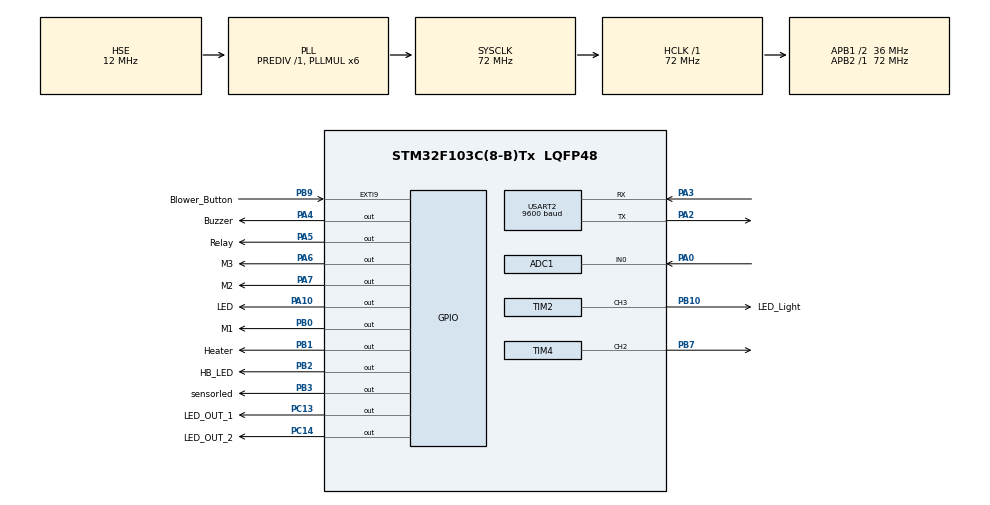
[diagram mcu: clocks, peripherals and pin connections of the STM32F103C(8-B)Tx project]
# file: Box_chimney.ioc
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ADC1.Channel-2\#ChannelRegularConversion=ADC_CHANNEL_0
ADC1.NbrOfConversion=1
ADC1.NbrOfConversionFlag=1
ADC1.Rank-2\#ChannelRegularConversion=1
ADC1.SamplingTime-2\#ChannelRegularConversion=ADC_SAMPLETIME_71CYCLES_5
ADC1.master=1
Dma.Request0=TIM4_CH2
Dma.TIM4_CH2.0.Direction=DMA_MEMORY_TO_PERIPH
Dma.TIM4_CH2.0.Instance=DMA1_Channel4
Dma.TIM4_CH2.0.MemDataAlignment=DMA_MDATAALIGN_HALFWORD
Dma.TIM4_CH2.0.MemInc=DMA_MINC_ENABLE
Dma.TIM4_CH2.0.Mode=DMA_NORMAL
Dma.TIM4_CH2.0.PeriphDataAlignment=DMA_PDATAALIGN_HALFWORD
Dma.TIM4_CH2.0.PeriphInc=DMA_PINC_DISABLE
Dma.TIM4_CH2.0.Priority=DMA_PRIORITY_LOW
Mcu.Family=STM32F1
Mcu.Name=STM32F103C(8-B)Tx
Mcu.Package=LQFP48
NVIC.DMA1_Channel4_IRQn=true\:0\:0\:false\:false\:true\:false\:true\:true
NVIC.EXTI9_5_IRQn=true\:0\:0\:false\:false\:true\:true\:true\:true
NVIC.PriorityGroup=NVIC_PRIORITYGROUP_4
NVIC.TIM1_UP_IRQn=true\:0\:0\:false\:false\:true\:true\:true\:true
NVIC.TIM2_IRQn=true\:0\:0\:false\:false\:true\:true\:true\:true
NVIC.TIM3_IRQn=true\:0\:0\:false\:false\:true\:true\:true\:true
NVIC.USART2_IRQn=true\:0\:0\:false\:false\:true\:true\:true\:true
PA0-WKUP.Signal=ADCx_IN0
PA10.GPIO_Label=LED
PA10.Signal=GPIO_Output
PA13.Mode=Serial_Wire
PA13.Signal=SYS_JTMS-SWDIO
PA14.Mode=Serial_Wire
PA14.Signal=SYS_JTCK-SWCLK
PA2.Mode=Asynchronous
PA2.Signal=USART2_TX
PA3.Mode=Asynchronous
PA3.Signal=USART2_RX
PA4.GPIO_Label=Buzzer
PA4.Signal=GPIO_Output
PA5.GPIO_Label=Relay
PA5.Signal=GPIO_Output
PA6.GPIO_Label=M3
PA6.Signal=GPIO_Output
PA7.GPIO_Label=M2
PA7.Signal=GPIO_Output
PB0.GPIO_Label=M1
PB0.Signal=GPIO_Output
PB1.GPIO_Label=Heater
PB1.Signal=GPIO_Output
PB10.GPIO_Label=LED_Light
PB10.Signal=S_TIM2_CH3
PB2.GPIO_Label=HB_LED
PB2.Signal=GPIO_Output
PB3.GPIO_Label=sensorled
PB3.Signal=GPIO_Output
PB7.Signal=S_TIM4_CH2
PB9.GPIO_Label=Blower_Button
PB9.GPIO_ModeDefaultEXTI=GPIO_MODE_IT_RISING_FALLING
PB9.Signal=GPXTI9
PC13-TAMPER-RTC.GPIO_Label=LED_OUT_1
PC13-TAMPER-RTC.Signal=GPIO_Output
PC14-OSC32_IN.GPIO_Label=LED_OUT_2
PC14-OSC32_IN.Signal=GPIO_Output
PD0-OSC_IN.Mode=HSE-External-Oscillator
PD0-OSC_IN.Signal=RCC_OSC_IN
PD1-OSC_OUT.Mode=HSE-External-Oscillator
PD1-OSC_OUT.Signal=RCC_OSC_OUT
ProjectManager.HeapSize=0x200
ProjectManager.StackSize=0x400
ProjectManager.TargetToolchain=STM32CubeIDE
RCC.ADCPresc=RCC_ADCPCLK2_DIV6
RCC.AHBFreq_Value=72000000
RCC.APB1CLKDivider=RCC_HCLK_DIV2
RCC.APB1Freq_Value=36000000
RCC.APB1TimFreq_Value=72000000
RCC.APB2Freq_Value=72000000
RCC.APB2TimFreq_Value=72000000
RCC.HCLKFreq_Value=72000000
RCC.HSE_VALUE=12000000
RCC.PLLMUL=RCC_PLL_MUL6
RCC.PLLSourceVirtual=RCC_PLLSOURCE_HSE
RCC.SYSCLKFreq_VALUE=72000000
RCC.SYSCLKSource=RCC_SYSCLKSOURCE_PLLCLK
RCC.USBFreq_Value=72000000
SH.ADCx_IN0.0=ADC1_IN0,IN0
SH.S_TIM2_CH3.0=TIM2_CH3,PWM Generation3 CH3
SH.S_TIM4_CH2.0=TIM4_CH2,PWM Generation2 CH2
TIM1.Period=9999
TIM1.Prescaler=7199
TIM2.Channel-PWM\ Generation3\ CH3=TIM_CHANNEL_3
TIM2.Period=999
TIM2.Prescaler=71
TIM3.Period=199
TIM3.Prescaler=7199
TIM4.Channel-PWM\ Generation2\ CH2=TIM_CHANNEL_2
TIM4.Period=89
TIM4.Prescaler=0
USART2.BaudRate=9600
USART2.VirtualMode=VM_ASYNC
VP_TIM1_VS_ClockSourceINT.Mode=Internal
VP_TIM2_VS_ClockSourceINT.Mode=Internal
VP_TIM3_VS_ClockSourceINT.Mode=Internal
VP_TIM4_VS_ClockSourceINT.Mode=Internal
board=custom

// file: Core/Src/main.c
/* USER CODE BEGIN Header */
/**
  ******************************************************************************
  * @file           : main.c
  * @brief          : Main program body
  ******************************************************************************
  * @attention
  *
  * Copyright (c) 2025 STMicroelectroniacs.
  * All rights reserved.
  *
  * This software is licensed under terms that can be found in the LICENSE file
  * in the root directory of this software component.
  * If no LICENSE file comes with this software, it is provided AS-IS.
  *
  ******************************************************************************
  */
/* USER CODE END Header */
#include "main.h"

ADC_HandleTypeDef hadc1;

TIM_HandleTypeDef htim1;
TIM_HandleTypeDef htim2;
TIM_HandleTypeDef htim3;
TIM_HandleTypeDef htim4;
DMA_HandleTypeDef hdma_tim4_ch2;

UART_HandleTypeDef huart2;

/* USER CODE BEGIN PV */
Key_State_t Key_State;
float senVal;
float dustDensity_1;
uint32_t lastDust = 0;
uint8_t turnOnblower=0;
//uint8_t hue =0;
//uint8_t status;
//uint8_t reply[6] = {0};
//uint32_t timeout = 1000;
//uint8_t i = 0;
//
//void HAL_TIM_PeriodElapsedCallback(TIM_HandleTypeDef *htim)
//{
//    if (htim->Instance == TIM1)
//    {
//        static uint16_t counter = 0;
//
//        if (++counter >= 5000)  // About every 100 ms
//        {
//            HAL_GPIO_TogglePin(GPIOA, GPIO_PIN_10);  // Visible blink
//            counter = 0;
//        }
//
//        SoftUartHandler();  // Keep calling Soft UART
//    }
//}
/* USER CODE END PV */

void SystemClock_Config(void);
static void MX_GPIO_Init(void);
static void MX_DMA_Init(void);
static void MX_TIM2_Init(void);
static void MX_TIM3_Init(void);
static void MX_TIM4_Init(void);
static void MX_TIM1_Init(void);
static void MX_USART2_UART_Init(void);
static void MX_ADC1_Init(void);

int main(void)
{

  /* MCU Configuration--------------------------------------------------------*/

  /* Reset of all peripherals, Initializes the Flash interface and the Systick. */
  HAL_Init();

  /* Configure the system clock */
  SystemClock_Config();

  /* Initialize all configured peripherals */
  MX_GPIO_Init();
  MX_DMA_Init();
  MX_TIM2_Init();
  MX_TIM3_Init();
  MX_TIM4_Init();
  MX_TIM1_Init();
  MX_USART2_UART_Init();
  MX_ADC1_Init();
  /* USER CODE BEGIN 2 */
  HAL_TIM_Base_Start_IT(&htim1);//process timer 1sec
//  HAL_TIM_Base_Start_IT(&htim2);//process timer 1sec
  HAL_TIM_PWM_Start(&htim2, TIM_CHANNEL_3);//main led
  HAL_TIM_Base_Start_IT(&htim3);//buzzer 20ms
  HAL_TIM_Base_Start(&htim4);//led pwm channel  prescalar=0
  system_init();
  DWT_Delay_Init();

  /* USER CODE END 2 */

  /* Infinite loop */
  /* USER CODE BEGIN WHILE */
  while (1)
  {
//	  senVal=Read_Dust();
	  ReadVC02Data();
	  keypad_process();
	  Gesture_process();
	  LED_process();
//	  if (senVal>=4500&&senVal<=5000)
//	  {
//		  Clear_All();
//		  WS2812_Send();
//		  Blower_Speed_1_ON;
//		  Key_State.Key_Count=2;
//		  Key_State.machine_off =0;
//		  Key_State.led_flag = 1;
//
//	  }else if(senVal<3500)
//	  {
////		  Blower_Speed_1__OFF;
//	  }
    /* USER CODE END WHILE */

  }
}

void SystemClock_Config(void)
{
  RCC_OscInitTypeDef RCC_OscInitStruct = {0};
  RCC_ClkInitTypeDef RCC_ClkInitStruct = {0};
  RCC_PeriphCLKInitTypeDef PeriphClkInit = {0};

  /** Initializes the RCC Oscillators according to the specified parameters
  * in the RCC_OscInitTypeDef structure.
  */
  RCC_OscInitStruct.OscillatorType = RCC_OSCILLATORTYPE_HSE;
  RCC_OscInitStruct.HSEState = RCC_HSE_ON;
  RCC_OscInitStruct.HSEPredivValue = RCC_HSE_PREDIV_DIV1;
  RCC_OscInitStruct.HSIState = RCC_HSI_ON;
  RCC_OscInitStruct.PLL.PLLState = RCC_PLL_ON;
  RCC_OscInitStruct.PLL.PLLSource = RCC_PLLSOURCE_HSE;
  RCC_OscInitStruct.PLL.PLLMUL = RCC_PLL_MUL6;
  if (HAL_RCC_OscConfig(&RCC_OscInitStruct) != HAL_OK)
  {
    Error_Handler();
  }

  /** Initializes the CPU, AHB and APB buses clocks
  */
  RCC_ClkInitStruct.ClockType = RCC_CLOCKTYPE_HCLK|RCC_CLOCKTYPE_SYSCLK
                              |RCC_CLOCKTYPE_PCLK1|RCC_CLOCKTYPE_PCLK2;
  RCC_ClkInitStruct.SYSCLKSource = RCC_SYSCLKSOURCE_PLLCLK;
  RCC_ClkInitStruct.AHBCLKDivider = RCC_SYSCLK_DIV1;
  RCC_ClkInitStruct.APB1CLKDivider = RCC_HCLK_DIV2;
  RCC_ClkInitStruct.APB2CLKDivider = RCC_HCLK_DIV1;

  if (HAL_RCC_ClockConfig(&RCC_ClkInitStruct, FLASH_LATENCY_2) != HAL_OK)
  {
    Error_Handler();
  }
  PeriphClkInit.PeriphClockSelection = RCC_PERIPHCLK_ADC;
  PeriphClkInit.AdcClockSelection = RCC_ADCPCLK2_DIV6;
  if (HAL_RCCEx_PeriphCLKConfig(&PeriphClkInit) != HAL_OK)
  {
    Error_Handler();
  }
}

static void MX_ADC1_Init(void)
{

  ADC_ChannelConfTypeDef sConfig = {0};

  /** Common config
  */
  hadc1.Instance = ADC1;
  hadc1.Init.ScanConvMode = ADC_SCAN_DISABLE;
  hadc1.Init.ContinuousConvMode = DISABLE;
  hadc1.Init.DiscontinuousConvMode = DISABLE;
  hadc1.Init.ExternalTrigConv = ADC_SOFTWARE_START;
  hadc1.Init.DataAlign = ADC_DATAALIGN_RIGHT;
  hadc1.Init.NbrOfConversion = 1;
  if (HAL_ADC_Init(&hadc1) != HAL_OK)
  {
    Error_Handler();
  }

  /** Configure Regular Channel
  */
  sConfig.Channel = ADC_CHANNEL_0;
  sConfig.Rank = ADC_REGULAR_RANK_1;
  sConfig.SamplingTime = ADC_SAMPLETIME_71CYCLES_5;
  if (HAL_ADC_ConfigChannel(&hadc1, &sConfig) != HAL_OK)
  {
    Error_Handler();
  }

}

static void MX_TIM1_Init(void)
{

  TIM_ClockConfigTypeDef sClockSourceConfig = {0};
  TIM_MasterConfigTypeDef sMasterConfig = {0};

  htim1.Instance = TIM1;
  htim1.Init.Prescaler = 7199;
  htim1.Init.CounterMode = TIM_COUNTERMODE_UP;
  htim1.Init.Period = 9999;
  htim1.Init.ClockDivision = TIM_CLOCKDIVISION_DIV1;
  htim1.Init.RepetitionCounter = 0;
  htim1.Init.AutoReloadPreload = TIM_AUTORELOAD_PRELOAD_DISABLE;
  if (HAL_TIM_Base_Init(&htim1) != HAL_OK)
  {
    Error_Handler();
  }
  sClockSourceConfig.ClockSource = TIM_CLOCKSOURCE_INTERNAL;
  if (HAL_TIM_ConfigClockSource(&htim1, &sClockSourceConfig) != HAL_OK)
  {
    Error_Handler();
  }
  sMasterConfig.MasterOutputTrigger = TIM_TRGO_RESET;
  sMasterConfig.MasterSlaveMode = TIM_MASTERSLAVEMODE_DISABLE;
  if (HAL_TIMEx_MasterConfigSynchronization(&htim1, &sMasterConfig) != HAL_OK)
  {
    Error_Handler();
  }

}

static void MX_TIM2_Init(void)
{

  TIM_ClockConfigTypeDef sClockSourceConfig = {0};
  TIM_MasterConfigTypeDef sMasterConfig = {0};
  TIM_OC_InitTypeDef sConfigOC = {0};

  htim2.Instance = TIM2;
  htim2.Init.Prescaler = 71;
  htim2.Init.CounterMode = TIM_COUNTERMODE_UP;
  htim2.Init.Period = 999;
  htim2.Init.ClockDivision = TIM_CLOCKDIVISION_DIV1;
  htim2.Init.AutoReloadPreload = TIM_AUTORELOAD_PRELOAD_DISABLE;
  if (HAL_TIM_Base_Init(&htim2) != HAL_OK)
  {
    Error_Handler();
  }
  sClockSourceConfig.ClockSource = TIM_CLOCKSOURCE_INTERNAL;
  if (HAL_TIM_ConfigClockSource(&htim2, &sClockSourceConfig) != HAL_OK)
  {
    Error_Handler();
  }
  if (HAL_TIM_PWM_Init(&htim2) != HAL_OK)
  {
    Error_Handler();
  }
  sMasterConfig.MasterOutputTrigger = TIM_TRGO_RESET;
  sMasterConfig.MasterSlaveMode = TIM_MASTERSLAVEMODE_DISABLE;
  if (HAL_TIMEx_MasterConfigSynchronization(&htim2, &sMasterConfig) != HAL_OK)
  {
    Error_Handler();
  }
  sConfigOC.OCMode = TIM_OCMODE_PWM1;
  sConfigOC.Pulse = 0;
  sConfigOC.OCPolarity = TIM_OCPOLARITY_HIGH;
  sConfigOC.OCFastMode = TIM_OCFAST_DISABLE;
  if (HAL_TIM_PWM_ConfigChannel(&htim2, &sConfigOC, TIM_CHANNEL_3) != HAL_OK)
  {
    Error_Handler();
  }
  HAL_TIM_MspPostInit(&htim2);

}

static void MX_TIM3_Init(void)
{

  TIM_ClockConfigTypeDef sClockSourceConfig = {0};
  TIM_MasterConfigTypeDef sMasterConfig = {0};

  htim3.Instance = TIM3;
  htim3.Init.Prescaler = 7199;
  htim3.Init.CounterMode = TIM_COUNTERMODE_UP;
  htim3.Init.Period = 199;
  htim3.Init.ClockDivision = TIM_CLOCKDIVISION_DIV1;
  htim3.Init.AutoReloadPreload = TIM_AUTORELOAD_PRELOAD_DISABLE;
  if (HAL_TIM_Base_Init(&htim3) != HAL_OK)
  {
    Error_Handler();
  }
  sClockSourceConfig.ClockSource = TIM_CLOCKSOURCE_INTERNAL;
  if (HAL_TIM_ConfigClockSource(&htim3, &sClockSourceConfig) != HAL_OK)
  {
    Error_Handler();
  }
  sMasterConfig.MasterOutputTrigger = TIM_TRGO_RESET;
  sMasterConfig.MasterSlaveMode = TIM_MASTERSLAVEMODE_DISABLE;
  if (HAL_TIMEx_MasterConfigSynchronization(&htim3, &sMasterConfig) != HAL_OK)
  {
    Error_Handler();
  }

}

static void MX_TIM4_Init(void)
{

  TIM_ClockConfigTypeDef sClockSourceConfig = {0};
  TIM_MasterConfigTypeDef sMasterConfig = {0};
  TIM_OC_InitTypeDef sConfigOC = {0};

  htim4.Instance = TIM4;
  htim4.Init.Prescaler = 0;
  htim4.Init.CounterMode = TIM_COUNTERMODE_UP;
  htim4.Init.Period = 89;
  htim4.Init.ClockDivision = TIM_CLOCKDIVISION_DIV1;
  htim4.Init.AutoReloadPreload = TIM_AUTORELOAD_PRELOAD_DISABLE;
  if (HAL_TIM_Base_Init(&htim4) != HAL_OK)
  {
    Error_Handler();
  }
  sClockSourceConfig.ClockSource = TIM_CLOCKSOURCE_INTERNAL;
  if (HAL_TIM_ConfigClockSource(&htim4, &sClockSourceConfig) != HAL_OK)
  {
    Error_Handler();
  }
  if (HAL_TIM_PWM_Init(&htim4) != HAL_OK)
  {
    Error_Handler();
  }
  sMasterConfig.MasterOutputTrigger = TIM_TRGO_RESET;
  sMasterConfig.MasterSlaveMode = TIM_MASTERSLAVEMODE_DISABLE;
  if (HAL_TIMEx_MasterConfigSynchronization(&htim4, &sMasterConfig) != HAL_OK)
  {
    Error_Handler();
  }
  sConfigOC.OCMode = TIM_OCMODE_PWM1;
  sConfigOC.Pulse = 0;
  sConfigOC.OCPolarity = TIM_OCPOLARITY_HIGH;
  sConfigOC.OCFastMode = TIM_OCFAST_DISABLE;
  if (HAL_TIM_PWM_ConfigChannel(&htim4, &sConfigOC, TIM_CHANNEL_2) != HAL_OK)
  {
    Error_Handler();
  }
  HAL_TIM_MspPostInit(&htim4);

}

static void MX_USART2_UART_Init(void)
{

  huart2.Instance = USART2;
  huart2.Init.BaudRate = 9600;
  huart2.Init.WordLength = UART_WORDLENGTH_8B;
  huart2.Init.StopBits = UART_STOPBITS_1;
  huart2.Init.Parity = UART_PARITY_NONE;
  huart2.Init.Mode = UART_MODE_TX_RX;
  huart2.Init.HwFlowCtl = UART_HWCONTROL_NONE;
  huart2.Init.OverSampling = UART_OVERSAMPLING_16;
  if (HAL_UART_Init(&huart2) != HAL_OK)
  {
    Error_Handler();
  }

}

static void MX_DMA_Init(void)
{

  /* DMA controller clock enable */
  __HAL_RCC_DMA1_CLK_ENABLE();

  /* DMA interrupt init */
  /* DMA1_Channel4_IRQn interrupt configuration */
  HAL_NVIC_SetPriority(DMA1_Channel4_IRQn, 0, 0);
  HAL_NVIC_EnableIRQ(DMA1_Channel4_IRQn);

}

static void MX_GPIO_Init(void)
{
  GPIO_InitTypeDef GPIO_InitStruct = {0};

  /* GPIO Ports Clock Enable */
  __HAL_RCC_GPIOC_CLK_ENABLE();
  __HAL_RCC_GPIOD_CLK_ENABLE();
  __HAL_RCC_GPIOA_CLK_ENABLE();
  __HAL_RCC_GPIOB_CLK_ENABLE();

  /*Configure GPIO pin Output Level */
  HAL_GPIO_WritePin(GPIOC, LED_OUT_1_Pin|LED_OUT_2_Pin, GPIO_PIN_RESET);

  /*Configure GPIO pin Output Level */
  HAL_GPIO_WritePin(GPIOA, Buzzer_Pin|Relay_Pin|M3_Pin|M2_Pin
                          |LED_Pin, GPIO_PIN_RESET);

  /*Configure GPIO pin Output Level */
  HAL_GPIO_WritePin(GPIOB, M1_Pin|Heater_Pin|HB_LED_Pin|sensorled_Pin, GPIO_PIN_RESET);

  /*Configure GPIO pins : LED_OUT_1_Pin LED_OUT_2_Pin */
  GPIO_InitStruct.Pin = LED_OUT_1_Pin|LED_OUT_2_Pin;
  GPIO_InitStruct.Mode = GPIO_MODE_OUTPUT_PP;
  GPIO_InitStruct.Pull = GPIO_NOPULL;
  GPIO_InitStruct.Speed = GPIO_SPEED_FREQ_LOW;
  HAL_GPIO_Init(GPIOC, &GPIO_InitStruct);

  /*Configure GPIO pins : Buzzer_Pin Relay_Pin M3_Pin M2_Pin
                           LED_Pin */
  GPIO_InitStruct.Pin = Buzzer_Pin|Relay_Pin|M3_Pin|M2_Pin
                          |LED_Pin;
  GPIO_InitStruct.Mode = GPIO_MODE_OUTPUT_PP;
  GPIO_InitStruct.Pull = GPIO_NOPULL;
  GPIO_InitStruct.Speed = GPIO_SPEED_FREQ_LOW;
  HAL_GPIO_Init(GPIOA, &GPIO_InitStruct);

  /*Configure GPIO pins : M1_Pin Heater_Pin HB_LED_Pin sensorled_Pin */
  GPIO_InitStruct.Pin = M1_Pin|Heater_Pin|HB_LED_Pin|sensorled_Pin;
  GPIO_InitStruct.Mode = GPIO_MODE_OUTPUT_PP;
  GPIO_InitStruct.Pull = GPIO_NOPULL;
  GPIO_InitStruct.Speed = GPIO_SPEED_FREQ_LOW;
  HAL_GPIO_Init(GPIOB, &GPIO_InitStruct);

  /*Configure GPIO pin : Blower_Button_Pin */
  GPIO_InitStruct.Pin = Blower_Button_Pin;
  GPIO_InitStruct.Mode = GPIO_MODE_IT_RISING_FALLING;
  GPIO_InitStruct.Pull = GPIO_NOPULL;
  HAL_GPIO_Init(Blower_Button_GPIO_Port, &GPIO_InitStruct);

  /* EXTI interrupt init*/
  HAL_NVIC_SetPriority(EXTI9_5_IRQn, 0, 0);
  HAL_NVIC_EnableIRQ(EXTI9_5_IRQn);

}

/* USER CODE BEGIN 4 */

void DWT_Delay_Init()
{
    CoreDebug->DEMCR |= CoreDebug_DEMCR_TRCENA_Msk;
    DWT->CYCCNT = 0;
    DWT->CTRL |= DWT_CTRL_CYCCNTENA_Msk;
}

void delay_us(uint16_t us)
{
    uint32_t cycles = (SystemCoreClock / 1000000) * us;
    uint32_t start = DWT->CYCCNT;
    while ((DWT->CYCCNT - start) < cycles);
}

float Read_Dust(void)
{
    uint32_t adcValue;

    // Turn ON IR LED (active LOW)
    HAL_GPIO_WritePin(sensorled_GPIO_Port, sensorled_Pin, GPIO_PIN_RESET);\

    delay_us(280);  // measurement time window

    HAL_ADC_Start(&hadc1);
    HAL_ADC_PollForConversion(&hadc1, 10);
    adcValue = HAL_ADC_GetValue(&hadc1);

    // Turn OFF IR LED
    HAL_GPIO_WritePin(sensorled_GPIO_Port, sensorled_Pin, GPIO_PIN_SET);
    delay_us(40);

    // Convert ADC to voltage
    float voltage = (adcValue / 4095.0f) * 3.3f;

    // Convert voltage to dust density (datasheet formula)
    float dustDensity = (voltage - 0.6f) * 1000.0f / 0.5f;// μg/m³

    if (dustDensity < 0)
    	{
    	dustDensity = 0;
    	}
    else
    {
    	dustDensity_1=dustDensity;
    }

    return dustDensity;
}

//float Read_Dust(void)
//{
//    uint32_t adcValue = 0;
//
//    // Turn ON IR LED (active LOW)
//    HAL_GPIO_WritePin(sensorled_GPIO_Port, sensorled_Pin, GPIO_PIN_RESET);
//
//    delay_us(280);
//
//    uint32_t sum = 0;
//    for (int i = 0; i < 10; i++)
//    {
//        HAL_ADC_Start(&hadc1);
//        HAL_ADC_PollForConversion(&hadc1, 10);
//        sum += HAL_ADC_GetValue(&hadc1);
//        delay_us(10);   // small spacing
//    }
//
//    adcValue = sum / 10;
//
//    // Turn OFF LED
//    HAL_GPIO_WritePin(sensorled_GPIO_Port, sensorled_Pin, GPIO_PIN_SET);
//    delay_us(40);
//
//    // Convert ADC to voltage
//    float voltage = adcValue * (3.3f / 4095.0f);
//
//    float dustDensity = (voltage - 0.6f) * 1000.0f / 0.5f;
//
//    if (dustDensity < 0)
//        dustDensity = 0;
//
//    return dustDensity;
//}

/* USER CODE END 4 */

void Error_Handler(void)
{
  __disable_irq();
  while (1)
  {
  }
}
